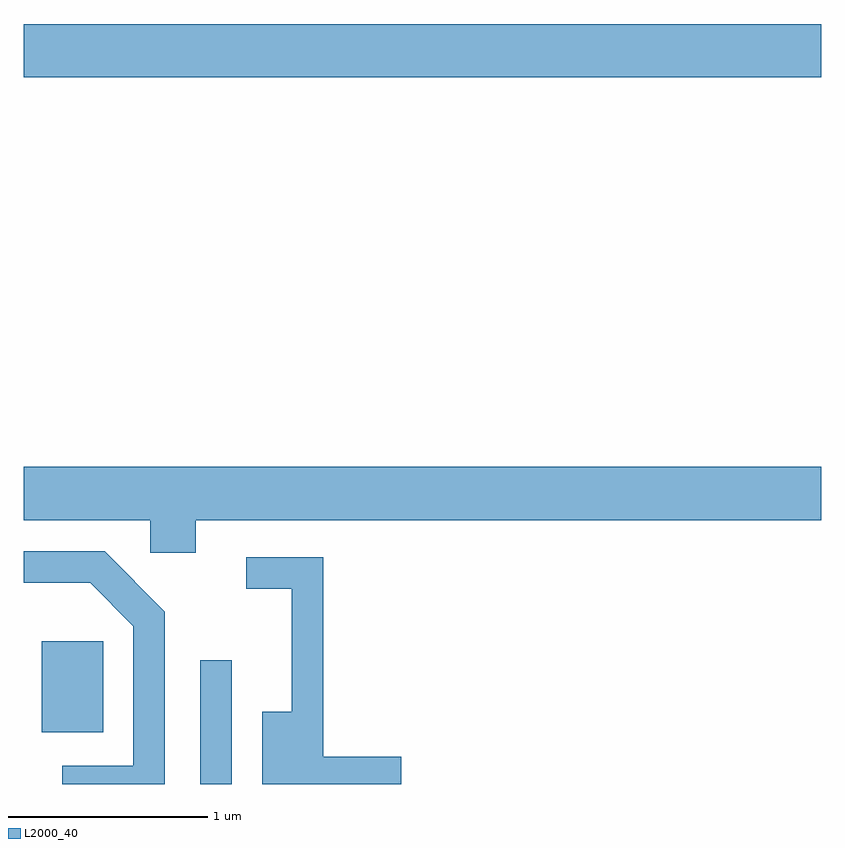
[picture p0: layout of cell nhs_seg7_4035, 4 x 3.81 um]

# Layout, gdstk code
import gdstk
lib = gdstk.Library(unit=1e-6, precision=1e-09)
def R(c, l, rs):  # rectangles x0, y0, x1, y1
    for r in rs: c.add(gdstk.rectangle(r[:2], r[2:], *l))
def P(c, l, *ps):  # polygons
    for p in ps: c.add(gdstk.Polygon(p, *l))
L2000_40 = (2000, 40)

nhs_seg7_4035 = lib.new_cell('nhs_seg7_4035')
R(nhs_seg7_4035, L2000_40, [(308.496,1786.252,308.654,1786.873), (307.701,1786.511,308.009,1786.969), (307.611,1789.796,311.611,1790.064)])
P(nhs_seg7_4035, L2000_40, [(308.474,1787.576),(311.611,1787.576),(311.611,1787.844),(307.611,1787.844),(307.611,1787.576),(308.246,1787.576),(308.246,1787.411),(308.474,1787.411)],
  [(308.319,1787.117),(308.017,1787.419),(307.611,1787.419),(307.611,1787.261),(307.944,1787.261),(308.161,1787.044),(308.161,1786.344),(307.803,1786.344),(307.803,1786.252),(308.319,1786.252)],
  [(309.504,1786.389),(309.114,1786.389),(309.114,1787.389),(308.728,1787.389),(308.728,1787.231),(308.956,1787.231),(308.956,1786.614),(308.806,1786.614),(308.806,1786.252),(309.504,1786.252)])

lib.write_gds('nhs_seg7_4035.gds')
